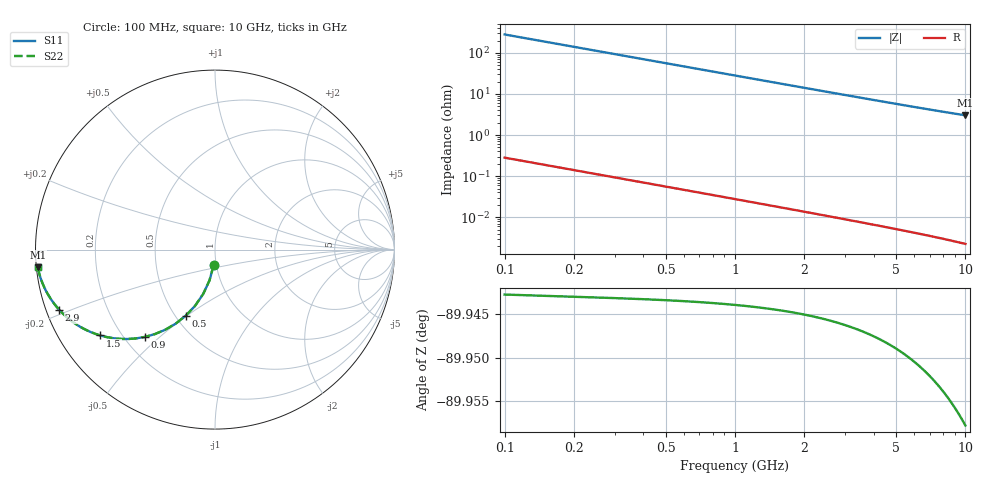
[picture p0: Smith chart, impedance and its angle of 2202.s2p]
# Hz S RI R 50.00
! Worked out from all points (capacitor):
!   100 points, 100 MHz to 10 GHz, reference 50 ohm
!   read as one part in shunt: C = 5.64 pF near 100 MHz
!   lowest |Z| = 3.03 ohm at 10 GHz (marker M1)
!   S11 on the Smith chart (normalised r, x): 100 MHz: 0.97, -0.17; 500 MHz: 0.56, -0.50; 900 MHz: 0.28, -0.45; 1.5 GHz: 0.12, -0.33; 2.9 GHz: 0.04, -0.19; 10 GHz: 0.00, -0.05
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1e8  -0.00785 -0.0878  0.9921 -0.088  0.9921 -0.088  -0.00785 -0.0878
2e8  -0.0306 -0.1716  0.9693 -0.172  0.9693 -0.172  -0.0306 -0.1716
3e8  -0.0662 -0.2479  0.9337 -0.2485  0.9337 -0.2485  -0.0662 -0.2479
4e8  -0.1118 -0.3143  0.8881 -0.3151  0.8881 -0.3151  -0.1118 -0.3143
5e8  -0.1643 -0.3696  0.8356 -0.3706  0.8356 -0.3706  -0.1643 -0.3696
6e8  -0.2206 -0.4136  0.7794 -0.4147  0.7794 -0.4147  -0.2206 -0.4136
7e8  -0.278 -0.4468  0.722 -0.4482  0.722 -0.4482  -0.278 -0.4468
9e8  -0.3887 -0.4861  0.6112 -0.4878  0.6112 -0.4878  -0.3887 -0.4861
1e9  -0.4397 -0.4949  0.5602 -0.4968  0.5602 -0.4968  -0.4397 -0.4949
1.2e9  -0.5304 -0.4974  0.4696 -0.4997  0.4696 -0.4997  -0.5304 -0.4974
1.5e9  -0.6381 -0.4786  0.3618 -0.4815  0.3618 -0.4815  -0.6381 -0.4786
1.8e9  -0.7173 -0.448  0.2827 -0.4516  0.2827 -0.4516  -0.7173 -0.448
2e9  -0.7579 -0.4259  0.242 -0.4298  0.242 -0.4298  -0.7579 -0.4259
2.3e9  -0.8054 -0.3931  0.1946 -0.3976  0.1946 -0.3976  -0.8054 -0.3931
2.6e9  -0.8409 -0.3627  0.159 -0.3678  0.159 -0.3678  -0.8409 -0.3627
2.9e9  -0.8679 -0.3352  0.132 -0.3409  0.132 -0.3409  -0.8679 -0.3352
3.4e9  -0.9003 -0.2957  0.0996 -0.3024  0.0996 -0.3024  -0.9003 -0.2957
4.2e9  -0.9323 -0.2464  0.0676 -0.2548  0.0676 -0.2548  -0.9323 -0.2464
5.1e9  -0.9531 -0.2057  0.0468 -0.2159  0.0468 -0.2159  -0.9531 -0.2057
6.7e9  -0.9724 -0.1564  0.0275 -0.1699  0.0275 -0.1699  -0.9724 -0.1564
8.4e9  -0.9823 -0.1221  0.0174 -0.1393  0.0174 -0.1393  -0.9823 -0.1221
1e10  -0.9876 -0.0992  0.0121 -0.12  0.0121 -0.12  -0.9876 -0.0992
